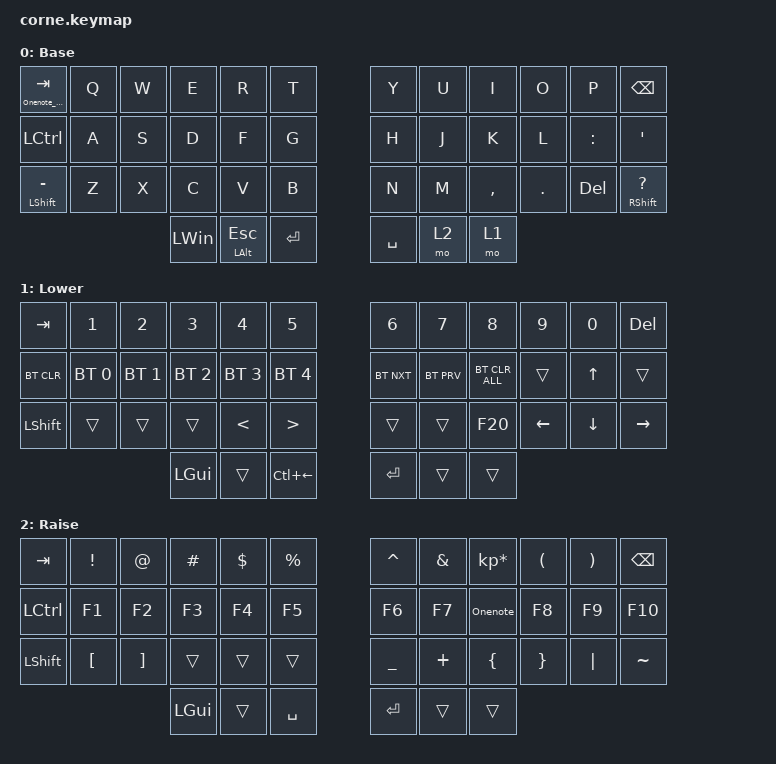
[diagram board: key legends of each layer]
/*
 * Copyright (c) 2020 The ZMK Contributors
 *
 * SPDX-License-Identifier: MIT
 */

#include <behaviors.dtsi>
#include <dt-bindings/zmk/bt.h>
#include <dt-bindings/zmk/keys.h>

/ {
    combos {
        compatible = "zmk,combos";

        f-slash {
            bindings = <&kp SLASH>;
            key-positions = <1 0>;
        };

        bk-slash {
            bindings = <&kp BACKSLASH>;
            key-positions = <1 2>;
        };

        Find {
            bindings = <&kp LC(F)>;
            key-positions = <18 19>;
        };

        Ctl-Ret {
            bindings = <&kp LC(RET)>;
            key-positions = <16 17>;
        };

        Semi-c {
            bindings = <&kp SEMICOLON>;
            key-positions = <23 22>;
        };

        Ctl-back {
            bindings = <&kp LC(BACKSPACE)>;
            key-positions = <10 11>;
        };

        Paste {
            bindings = <&kp LC(V)>;
            key-positions = <30 31>;
        };

        Copy {
            bindings = <&kp LC(C)>;
            key-positions = <28 29>;
        };

        left {
            bindings = <&kp LC(LEFT_ARROW)>;
            key-positions = <33 34>;
        };

        right {
            bindings = <&kp LC(RIGHT_ARROW)>;
            key-positions = <35 34>;
        };
    };

    macros {
        Onenote: Onenote {
            compatible = "zmk,behavior-macro";
            #binding-cells = <0>;
            bindings = <&kp K &kp LC(K) &kp LC(V) &kp RETURN>, <&macro_press>;

            label = "ONENOTE";
        };

        Onenote_macro: Onenote_macro {
            compatible = "zmk,behavior-macro";
            #binding-cells = <0>;
            bindings = <&kp LC(K)>, <&macro_press>, <&kp LC(V) &kp RET>;

            label = "ONENOTE_MACRO";
        };
    };

    behaviors {
        Onenote_behavior: Onenote_behavior {
            compatible = "zmk,behavior-hold-tap";
            label = "ONENOTE_BEHAVIOR";
            bindings = <&Onenote_macro>, <&kp>;

            #binding-cells = <2>;
            tapping-term-ms = <200>;
        };
    };

    keymap {
        compatible = "zmk,keymap";

        default_layer {
            // -----------------------------------------------------------------------------------------
            // |  TAB |  Q  |  W  |  E  |  R  |  T  |   |  Y  |  U   |  I  |  O  |  P  | BKSP |
            // | CTRL |  A  |  S  |  D  |  F  |  G  |   |  H  |  J   |  K  |  L  |  ;  |  '   |
            // | SHFT |  Z  |  X  |  C  |  V  |  B  |   |  N  |  M   |  ,  |  .  |  /  | ESC  |
            //                    | GUI | LWR | SPC |   | ENT | RSE  | ALT |

            display-name = "Base";
            bindings = <
&Onenote_behavior 0 TAB  &kp Q  &kp W  &kp E         &kp R                &kp T      &kp Y      &kp U  &kp I      &kp O    &kp P       &kp BSPC
&kp LCTRL                &kp A  &kp S  &kp D         &kp F                &kp G      &kp H      &kp J  &kp K      &kp L    &kp COLON   &kp SQT
&mt LEFT_SHIFT MINUS     &kp Z  &kp X  &kp C         &kp V                &kp B      &kp N      &kp M  &kp COMMA  &kp DOT  &kp DELETE  &mt RSHIFT QUESTION
                                       &kp LEFT_WIN  &mt LEFT_ALT ESCAPE  &kp RET    &kp SPACE  &mo 2  &mo 1
            >;
        };

        lower_layer {
            // -----------------------------------------------------------------------------------------
            // |  TAB |  1  |  2  |  3  |  4  |  5  |   |  6  |  7  |  8  |  9  |  0  | BKSP |
            // | BTCLR| BT1 | BT2 | BT3 | BT4 | BT5 |   | LFT | DWN |  UP | RGT |     |      |
            // | SHFT |     |     |     |     |     |   |     |     |     |     |     |      |
            //                    | GUI |     | SPC |   | ENT |     | ALT |

            display-name = "Lower";
            bindings = <
&kp TAB     &kp N1        &kp N2        &kp N3        &kp N4         &kp N5                &kp N6      &kp N7      &kp N8          &kp N9          &kp N0          &kp DELETE
&bt BT_CLR  &bt BT_SEL 0  &bt BT_SEL 1  &bt BT_SEL 2  &bt BT_SEL 3   &bt BT_SEL 4          &bt BT_NXT  &bt BT_PRV  &bt BT_CLR_ALL  &trans          &kp UP_ARROW    &trans
&kp LSHFT   &trans        &trans        &trans        &kp LESS_THAN  &kp GREATER_THAN      &trans      &trans      &kp F20         &kp LEFT_ARROW  &kp DOWN_ARROW  &kp RIGHT_ARROW
                                        &kp LGUI      &trans         &kp LC(LEFT_ARROW)    &kp RET     &trans      &trans
            >;
        };

        raise_layer {
            // -----------------------------------------------------------------------------------------
            // |  TAB |  !  |  @  |  #  |  $  |  %  |   |  ^  |  &  |  *  |  (  |  )  | BKSP |
            // | CTRL |     |     |     |     |     |   |  -  |  =  |  [  |  ]  |  \  |  `   |
            // | SHFT |     |     |     |     |     |   |  _  |  +  |  {  |  }  | "|" |  ~   |
            //                    | GUI |     | SPC |   | ENT |     | ALT |

            display-name = "Raise";
            bindings = <
&kp TAB    &kp EXCL          &kp AT             &kp HASH  &kp DLLR  &kp PRCNT    &kp CARET  &kp AMPS  &kp KP_MULTIPLY  &kp LPAR  &kp RPAR  &kp BSPC
&kp LCTRL  &kp F1            &kp F2             &kp F3    &kp F4    &kp F5       &kp F6     &kp F7    &Onenote         &kp F8    &kp F9    &kp F10
&kp LSHFT  &kp LEFT_BRACKET  &kp RIGHT_BRACKET  &trans    &trans    &trans       &kp UNDER  &kp PLUS  &kp LBRC         &kp RBRC  &kp PIPE  &kp TILDE
                                                &kp LGUI  &trans    &kp SPACE    &kp RET    &trans    &trans
            >;
        };
    };
};
